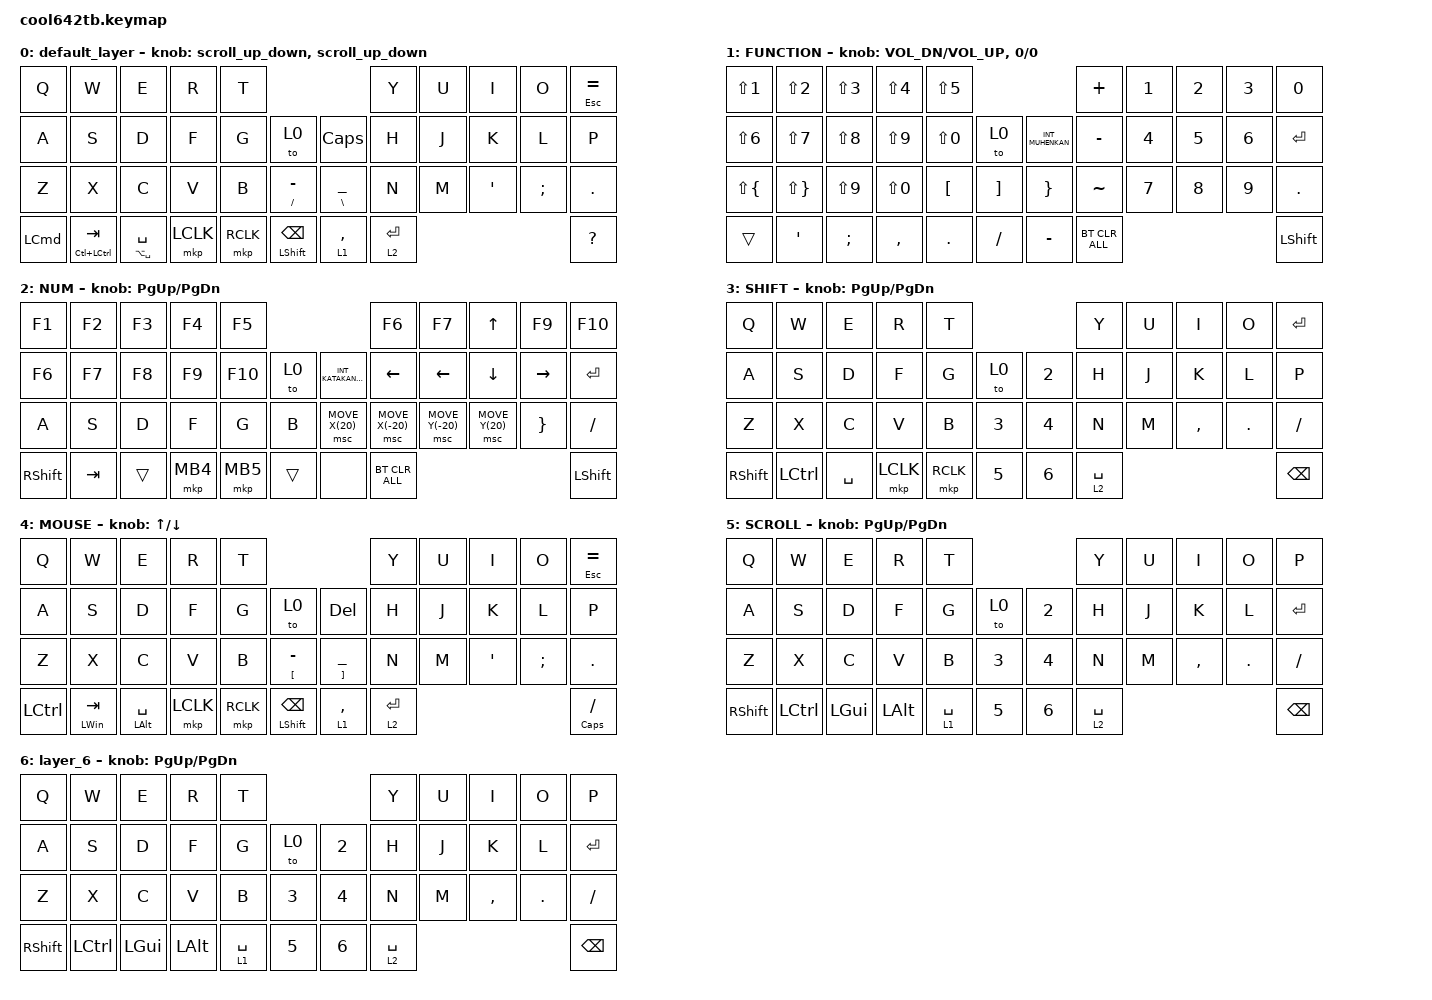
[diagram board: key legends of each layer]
#include <behaviors.dtsi>
#include <dt-bindings/zmk/bt.h>
#include <dt-bindings/zmk/keys.h>
#include <dt-bindings/zmk/pointing.h>

#define MOUSE 4
#define SCROLL 5
#define NUM 6

&mt {
    flavor = "balanced";
    quick-tap-ms = <0>;
};

/ {
    combos {
        compatible = "zmk,combos";

        comb1 {
            bindings = <&kp TAB>;
            key-positions = <11 10>;
        };

        comb2 {
            bindings = <&kp LS(ESCAPE)>;
            key-positions = <0 1>;
        };

        comb3 {
            bindings = <&kp CAPSLOCK>;
            key-positions = <22 23>;
        };

        comb4 {
            bindings = <&kp BACKSPACE>;
            key-positions = <9 8>;
        };

        comb5 {
            bindings = <&bt BT_CLR_ALL>;
            key-positions = <9 8>;
            timeout-ms = <0>;
            layers = <2>;
        };
    };

    macros {
        to_layer_0: to_layer_0 {
            compatible = "zmk,behavior-macro-one-param";
            #binding-cells = <1>;
            bindings = <&to 0 &macro_param_1to1 &kp MACRO_PLACEHOLDER>;
            label = "TO_LAYER_0";
        };
    };

    behaviors {
        lt_to_layer_0: lt_to_layer_0 {
            compatible = "zmk,behavior-hold-tap";
            label = "LAYER_TAP_TO_0";
            bindings = <&mo>, <&to_layer_0>;

            #binding-cells = <2>;
            tapping-term-ms = <200>;
        };

        /* Added: Encoder rotation -> Mouse wheel scroll up/down */

        scroll_up_down: behavior_sensor_rotate_mouse_wheel_up_down {
            compatible = "zmk,behavior-sensor-rotate";
            #sensor-binding-cells = <0>;
            bindings = <&msc SCRL_UP>, <&msc SCRL_DOWN>;

            tap-ms = <20>;
        };
    };

    keymap {
        compatible = "zmk,keymap";

        default_layer {
            bindings = <
&kp Q             &kp W                     &kp E                &kp R      &kp T                                                          &kp Y        &kp U  &kp I             &kp O          &mt ESC EQUAL
&kp A             &kp S                     &kp D                &kp F      &kp G      &to 0                     &kp CAPSLOCK              &kp H        &kp J  &kp K             &kp L          &kp P
&kp Z             &kp X                     &kp C                &kp V      &kp B      &mt SLASH MINUS           &mt BACKSLASH UNDERSCORE  &kp N        &kp M  &kp SINGLE_QUOTE  &kp SEMICOLON  &kp PERIOD
&kp LEFT_COMMAND  &mt LC(LEFT_CONTROL) TAB  &mt LA(SPACE) SPACE  &mkp LCLK  &mkp RCLK  &mt LEFT_SHIFT BACKSPACE  &lt 1 COMMA               &lt 2 ENTER                                          &kp QUESTION
            >;

            /* Changed: default layer encoder -> wheel scroll
             * If you have multiple sensors, repeating helps ensure the encoder is mapped.
             */

            sensor-bindings = <&scroll_up_down &scroll_up_down>;
        };

        FUNCTION {
            bindings = <
&kp LS(NUMBER_1)    &kp LS(NUMBER_2)     &kp LS(NUMBER_3)  &kp LS(NUMBER_4)  &kp LS(N5)                                             &kp PLUS        &kp NUMBER_1  &kp NUMBER_2  &kp NUMBER_3  &kp N0
&kp LS(NUMBER_6)    &kp LS(N7)           &kp LS(N8)        &kp LS(N9)        &kp LS(N0)        &to 0              &kp INT_MUHENKAN  &kp MINUS       &kp NUMBER_4  &kp N5        &kp NUMBER_6  &kp ENTER
&kp LS(LEFT_BRACE)  &kp LS(RIGHT_BRACE)  &kp LS(N9)        &kp LS(N0)        &kp LEFT_BRACKET  &kp RIGHT_BRACKET  &kp RIGHT_BRACE   &kp TILDE       &kp N7        &kp N8        &kp N9        &kp PERIOD
&trans              &kp SQT              &kp SEMICOLON     &kp COMMA         &kp PERIOD        &kp SLASH          &kp MINUS         &bt BT_CLR_ALL                                            &kp LEFT_SHIFT
            >;

            sensor-bindings =
                <&inc_dec_kp C_VOL_DN C_VOL_UP>,
                <&inc_dec_kp 0 0>;
        };

        NUM {
            bindings = <
&kp F1      &kp F2   &kp F3  &kp F4    &kp F5                                      &kp F6            &kp F7            &kp UP_ARROW     &kp F9           &kp F10
&kp F6      &kp F7   &kp F8  &kp F9    &kp F10   &to 0   &kp INT_KATAKANAHIRAGANA  &kp LEFT          &kp LEFT_ARROW    &kp DOWN_ARROW   &kp RIGHT        &kp ENTER
&kp A       &kp S    &kp D   &kp F     &kp G     &kp B   &msc MOVE_X(20)           &msc MOVE_X(-20)  &msc MOVE_Y(-20)  &msc MOVE_Y(20)  &kp RIGHT_BRACE  &kp SLASH
&kp RSHIFT  &kp TAB  &trans  &mkp MB4  &mkp MB5  &trans  &none                     &bt BT_CLR_ALL                                                        &kp LEFT_SHIFT
            >;

            sensor-bindings = <&inc_dec_kp PG_UP PAGE_DOWN>;
        };

        SHIFT {
            bindings = <
&kp Q       &kp W      &kp E      &kp R      &kp T                      &kp Y        &kp U  &kp I      &kp O       &kp ENTER
&kp A       &kp S      &kp D      &kp F      &kp G      &to 0   &kp N2  &kp H        &kp J  &kp K      &kp L       &kp P
&kp Z       &kp X      &kp C      &kp V      &kp B      &kp N3  &kp N4  &kp N        &kp M  &kp COMMA  &kp PERIOD  &kp SLASH
&kp RSHIFT  &kp LCTRL  &kp SPACE  &mkp LCLK  &mkp RCLK  &kp N5  &kp N6  &lt 2 SPACE                                &kp BSPC
            >;

            sensor-bindings = <&inc_dec_kp PG_UP PAGE_DOWN>;
        };

        MOUSE {
            bindings = <
&kp Q             &kp W             &kp E               &kp R      &kp T                                                              &kp Y        &kp U  &kp I    &kp O          &mt ESC EQUAL
&kp A             &kp S             &kp D               &kp F      &kp G      &to 0                     &kp DELETE                    &kp H        &kp J  &kp K    &kp L          &kp P
&kp Z             &kp X             &kp C               &kp V      &kp B      &mt LEFT_BRACKET MINUS    &mt RIGHT_BRACKET UNDERSCORE  &kp N        &kp M  &kp SQT  &kp SEMICOLON  &kp PERIOD
&kp LEFT_CONTROL  &mt LEFT_WIN TAB  &mt LEFT_ALT SPACE  &mkp LCLK  &mkp RCLK  &mt LEFT_SHIFT BACKSPACE  &lt 1 COMMA                   &lt 2 ENTER                                 &mt CLCK SLASH
            >;

            sensor-bindings = <&inc_dec_kp UP_ARROW DOWN_ARROW>;
        };

        SCROLL {
            bindings = <
&kp Q       &kp W      &kp E     &kp R     &kp T                        &kp Y        &kp U  &kp I      &kp O       &kp P
&kp A       &kp S      &kp D     &kp F     &kp G        &to 0   &kp N2  &kp H        &kp J  &kp K      &kp L       &kp ENTER
&kp Z       &kp X      &kp C     &kp V     &kp B        &kp N3  &kp N4  &kp N        &kp M  &kp COMMA  &kp PERIOD  &kp SLASH
&kp RSHIFT  &kp LCTRL  &kp LGUI  &kp LALT  &lt 1 SPACE  &kp N5  &kp N6  &lt 2 SPACE                                &kp BSPC
            >;

            sensor-bindings = <&inc_dec_kp PG_UP PAGE_DOWN>;
        };

        layer_6 {
            bindings = <
&kp Q       &kp W      &kp E     &kp R     &kp T                        &kp Y        &kp U  &kp I      &kp O       &kp P
&kp A       &kp S      &kp D     &kp F     &kp G        &to 0   &kp N2  &kp H        &kp J  &kp K      &kp L       &kp ENTER
&kp Z       &kp X      &kp C     &kp V     &kp B        &kp N3  &kp N4  &kp N        &kp M  &kp COMMA  &kp PERIOD  &kp SLASH
&kp RSHIFT  &kp LCTRL  &kp LGUI  &kp LALT  &lt 1 SPACE  &kp N5  &kp N6  &lt 2 SPACE                                &kp BSPC
            >;

            sensor-bindings = <&inc_dec_kp PG_UP PAGE_DOWN>;
        };
    };
};
